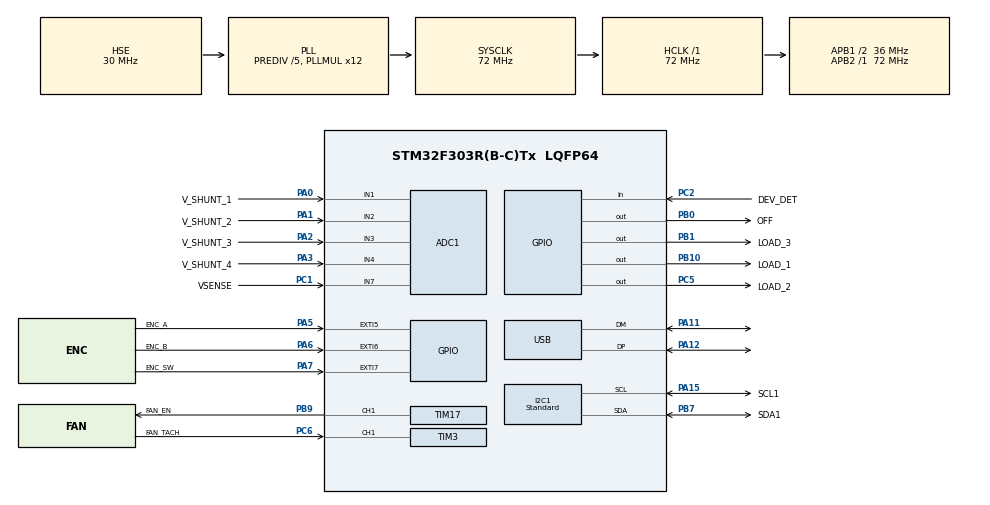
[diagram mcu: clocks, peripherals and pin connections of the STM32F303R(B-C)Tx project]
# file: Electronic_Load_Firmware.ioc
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ADC1.Channel-0\#ChannelRegularConversion=ADC_CHANNEL_1
ADC1.Channel-1\#ChannelRegularConversion=ADC_CHANNEL_2
ADC1.Channel-2\#ChannelRegularConversion=ADC_CHANNEL_3
ADC1.Channel-3\#ChannelRegularConversion=ADC_CHANNEL_4
ADC1.Channel-6\#ChannelRegularConversion=ADC_CHANNEL_7
ADC1.ContinuousConvMode=ENABLE
ADC1.DMAContinuousRequests=ENABLE
ADC1.EOCSelection=ADC_EOC_SEQ_CONV
ADC1.NbrOfConversion=5
ADC1.NbrOfConversionFlag=1
ADC1.Offset-0\#ChannelRegularConversion=0
ADC1.Offset-1\#ChannelRegularConversion=0
ADC1.Offset-2\#ChannelRegularConversion=0
ADC1.Offset-3\#ChannelRegularConversion=0
ADC1.Offset-6\#ChannelRegularConversion=0
ADC1.OffsetNumber-0\#ChannelRegularConversion=ADC_OFFSET_NONE
ADC1.OffsetNumber-1\#ChannelRegularConversion=ADC_OFFSET_NONE
ADC1.OffsetNumber-2\#ChannelRegularConversion=ADC_OFFSET_NONE
ADC1.OffsetNumber-3\#ChannelRegularConversion=ADC_OFFSET_NONE
ADC1.OffsetNumber-6\#ChannelRegularConversion=ADC_OFFSET_NONE
ADC1.Rank-0\#ChannelRegularConversion=1
ADC1.Rank-1\#ChannelRegularConversion=2
ADC1.Rank-2\#ChannelRegularConversion=3
ADC1.Rank-3\#ChannelRegularConversion=4
ADC1.Rank-6\#ChannelRegularConversion=5
ADC1.SamplingTime-0\#ChannelRegularConversion=ADC_SAMPLETIME_181CYCLES_5
ADC1.SamplingTime-1\#ChannelRegularConversion=ADC_SAMPLETIME_181CYCLES_5
ADC1.SamplingTime-2\#ChannelRegularConversion=ADC_SAMPLETIME_181CYCLES_5
ADC1.SamplingTime-3\#ChannelRegularConversion=ADC_SAMPLETIME_181CYCLES_5
ADC1.SamplingTime-6\#ChannelRegularConversion=ADC_SAMPLETIME_181CYCLES_5
ADC1.SamplingTimeOPAMP-6\#ChannelRegularConversion=ADC_SAMPLETIME_61CYCLES_5
ADC1.master=1
Dma.ADC1.0.Direction=DMA_PERIPH_TO_MEMORY
Dma.ADC1.0.Instance=DMA1_Channel1
Dma.ADC1.0.MemDataAlignment=DMA_MDATAALIGN_HALFWORD
Dma.ADC1.0.MemInc=DMA_MINC_ENABLE
Dma.ADC1.0.Mode=DMA_CIRCULAR
Dma.ADC1.0.PeriphDataAlignment=DMA_PDATAALIGN_HALFWORD
Dma.ADC1.0.PeriphInc=DMA_PINC_DISABLE
Dma.ADC1.0.Priority=DMA_PRIORITY_LOW
Dma.Request0=ADC1
I2C1.I2C_Speed_Mode=I2C_Standard
I2C1.Timing=0x00201D2B
Mcu.Family=STM32F3
Mcu.Name=STM32F303R(B-C)Tx
Mcu.Package=LQFP64
NVIC.DMA1_Channel1_IRQn=true\:3\:0\:true\:false\:true\:false\:true\:true
NVIC.EXTI9_5_IRQn=true\:2\:0\:true\:false\:true\:true\:true\:true
NVIC.PriorityGroup=NVIC_PRIORITYGROUP_4
NVIC.TIM3_IRQn=true\:0\:0\:false\:false\:true\:true\:true\:true
NVIC.USB_LP_CAN_RX0_IRQn=true\:0\:0\:false\:false\:true\:false\:true\:true
PA0.GPIO_Label=V_SHUNT_1
PA0.Mode=IN1-Single-Ended
PA0.Signal=ADC1_IN1
PA1.GPIO_Label=V_SHUNT_2
PA1.Mode=IN2-Single-Ended
PA1.Signal=ADC1_IN2
PA11.Mode=Device
PA11.Signal=USB_DM
PA12.Mode=Device
PA12.Signal=USB_DP
PA13.Mode=Trace_Asynchronous_SW
PA13.Signal=SYS_JTMS-SWDIO
PA14.Mode=Trace_Asynchronous_SW
PA14.Signal=SYS_JTCK-SWCLK
PA15.GPIO_Label=SCL1
PA15.GPIO_Pu=GPIO_NOPULL
PA15.Mode=I2C
PA15.Signal=I2C1_SCL
PA2.GPIO_Label=V_SHUNT_3
PA2.Mode=IN3-Single-Ended
PA2.Signal=ADC1_IN3
PA3.GPIO_Label=V_SHUNT_4
PA3.Mode=IN4-Single-Ended
PA3.Signal=ADC1_IN4
PA5.GPIO_Label=ENC_A
PA5.GPIO_ModeDefaultEXTI=GPIO_MODE_IT_RISING_FALLING
PA5.GPIO_PuPd=GPIO_PULLUP
PA5.Signal=GPXTI5
PA6.GPIO_Label=ENC_B
PA6.GPIO_ModeDefaultEXTI=GPIO_MODE_IT_RISING_FALLING
PA6.GPIO_PuPd=GPIO_PULLUP
PA6.Signal=GPXTI6
PA7.GPIO_Label=ENC_SW
PA7.GPIO_ModeDefaultEXTI=GPIO_MODE_IT_FALLING
PA7.GPIO_PuPd=GPIO_PULLUP
PA7.Signal=GPXTI7
PB0.GPIO_Label=OFF
PB0.PinState=GPIO_PIN_SET
PB0.Signal=GPIO_Output
PB1.GPIO_Label=LOAD_3
PB1.PinState=GPIO_PIN_SET
PB1.Signal=GPIO_Output
PB10.GPIO_Label=LOAD_1
PB10.PinState=GPIO_PIN_SET
PB10.Signal=GPIO_Output
PB3.GPIO_Label=SWD_SWO
PB3.Mode=Trace_Asynchronous_SW
PB3.Signal=SYS_JTDO-TRACESWO
PB7.GPIO_Label=SDA1
PB7.GPIO_Pu=GPIO_NOPULL
PB7.Mode=I2C
PB7.Signal=I2C1_SDA
PB9.GPIO_Label=FAN_EN
PB9.Signal=S_TIM17_CH1
PC1.GPIO_Label=VSENSE
PC1.Signal=ADCx_IN7
PC2.GPIO_Label=DEV_DET
PC2.Signal=GPIO_Input
PC5.GPIO_Label=LOAD_2
PC5.PinState=GPIO_PIN_SET
PC5.Signal=GPIO_Output
PC6.GPIO_Label=FAN_TACH
PC6.Signal=S_TIM3_CH1
PF0-OSC_IN.Mode=HSE-External-Oscillator
PF0-OSC_IN.Signal=RCC_OSC_IN
PF1-OSC_OUT.Mode=HSE-External-Oscillator
PF1-OSC_OUT.Signal=RCC_OSC_OUT
ProjectManager.HeapSize=0x200
ProjectManager.StackSize=0x400
ProjectManager.TargetToolchain=STM32CubeIDE
RCC.AHBFreq_Value=72000000
RCC.APB1CLKDivider=RCC_HCLK_DIV2
RCC.APB1Freq_Value=36000000
RCC.APB1TimFreq_Value=72000000
RCC.APB2Freq_Value=72000000
RCC.APB2TimFreq_Value=72000000
RCC.CortexFreq_Value=72000000
RCC.HCLKFreq_Value=72000000
RCC.HSE_VALUE=30000000
RCC.HSI_VALUE=8000000
RCC.LSE_VALUE=32768
RCC.PLLMUL=RCC_PLL_MUL12
RCC.PRESCALERUSB=RCC_USBCLKSOURCE_PLL_DIV1_5
RCC.RCC_PLLsource_Clock_Source_FROM_HSE=RCC_HSE_PREDIV_DIV5
RCC.SYSCLKFreq_VALUE=72000000
RCC.SYSCLKSourceVirtual=RCC_SYSCLKSOURCE_PLLCLK
RCC.USBFreq_Value=48000000
SH.ADCx_IN7.0=ADC1_IN7,IN7-Single-Ended
SH.S_TIM17_CH1.0=TIM17_CH1,PWM Generation1 CH1
SH.S_TIM3_CH1.0=TIM3_CH1,Input_Capture1_from_TI1
TIM17.Channel=TIM_CHANNEL_1
TIM17.Period=1919
TIM3.Channel-Input_Capture1_from_TI1=TIM_CHANNEL_1
TIM3.Prescaler=47
USB_DEVICE.CLASS_NAME_FS=CDC
USB_DEVICE.VirtualMode=Cdc
USB_DEVICE.VirtualModeFS=Cdc_FS
VP_TIM17_VS_ClockSourceINT.Mode=Enable_Timer
VP_TIM3_VS_ClockSourceINT.Mode=Internal
VP_USB_DEVICE_VS_USB_DEVICE_CDC_FS.Mode=CDC_FS
board=custom

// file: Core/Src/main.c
/* USER CODE BEGIN Header */
/**
  ******************************************************************************
  * @file           : main.c
  * @brief          : Main program body
  ******************************************************************************
  * @attention
  *
  * Copyright (c) 2026 STMicroelectronics.
  * All rights reserved.
  *
  * This software is licensed under terms that can be found in the LICENSE file
  * in the root directory of this software component.
  * If no LICENSE file comes with this software, it is provided AS-IS.
  *
  ******************************************************************************
  */
/* USER CODE END Header */
#include "main.h"
#include "usb_device.h"

/* USER CODE BEGIN Includes */
#include "usbd_cdc_if.h"
#include <stdio.h>
#include <string.h>
/* USER CODE END Includes */

/* USER CODE BEGIN PD */
#define REPORT_PERIOD_MS    1000U

/* ADC reference (MCU VDD) */
#define ADC_VREF_MV         3300U
#define ADC_RAW_TO_MV(r)    ((uint32_t)(r) * ADC_VREF_MV / 4096U)
/* USER CODE END PD */

ADC_HandleTypeDef hadc1;
DMA_HandleTypeDef hdma_adc1;

I2C_HandleTypeDef hi2c1;

TIM_HandleTypeDef htim3;
TIM_HandleTypeDef htim17;

/* USER CODE BEGIN PV */
extern USBD_HandleTypeDef hUsbDeviceFS;
extern volatile uint8_t cmd_ready[];
extern volatile uint8_t cmd_ready_flag;

static volatile uint16_t adc_dma_buf[5]; /* [0..3]=V_SHUNT_1..4, [4]=VSENSE */

static uint32_t last_report_tick_ms = 0U;
static uint8_t  banner_sent = 0U;
static char     report_buf[128];
/* Per-channel load state: 1=ON (GPIO LOW, PNP active), 0=OFF (GPIO HIGH, PNP off)
 * Index 0=CH1(PB0), 1=CH2(PB10), 2=CH3(PC5), 3=CH4(PB1) */
static uint8_t  chan_enabled[4] = {1U, 1U, 1U, 1U};  /* all ON at startup */

static GPIO_TypeDef * const chan_port[4] = {OFF_GPIO_Port, LOAD_1_GPIO_Port, LOAD_2_GPIO_Port, LOAD_3_GPIO_Port};
static const uint16_t       chan_pin[4]  = {OFF_Pin,       LOAD_1_Pin,       LOAD_2_Pin,       LOAD_3_Pin};
/* USER CODE END PV */

void SystemClock_Config(void);
static void MX_GPIO_Init(void);
static void MX_DMA_Init(void);
static void MX_ADC1_Init(void);
static void MX_I2C1_Init(void);
static void MX_TIM3_Init(void);
static void MX_TIM17_Init(void);
/* USER CODE BEGIN PFP */
static uint8_t  usb_is_configured(void);
static HAL_StatusTypeDef clock_try_hse30_pll72_usb48(void);
static HAL_StatusTypeDef clock_try_hsi_pll48_usb48(void);
/* USER CODE END PFP */

/* USER CODE BEGIN 0 */
static uint8_t usb_is_configured(void)
{
  return (hUsbDeviceFS.dev_state == USBD_STATE_CONFIGURED) ? 1U : 0U;
}

static HAL_StatusTypeDef clock_try_hse30_pll72_usb48(void)
{
  RCC_OscInitTypeDef RCC_OscInitStruct = {0};
  RCC_ClkInitTypeDef RCC_ClkInitStruct = {0};
  RCC_PeriphCLKInitTypeDef PeriphClkInit = {0};

  RCC_OscInitStruct.OscillatorType = RCC_OSCILLATORTYPE_HSI|RCC_OSCILLATORTYPE_HSE;
  RCC_OscInitStruct.HSEState = RCC_HSE_ON;
  RCC_OscInitStruct.HSEPredivValue = RCC_HSE_PREDIV_DIV5;
  RCC_OscInitStruct.HSIState = RCC_HSI_ON;
  RCC_OscInitStruct.HSICalibrationValue = RCC_HSICALIBRATION_DEFAULT;
  RCC_OscInitStruct.PLL.PLLState = RCC_PLL_ON;
  RCC_OscInitStruct.PLL.PLLSource = RCC_PLLSOURCE_HSE;
  RCC_OscInitStruct.PLL.PLLMUL = RCC_PLL_MUL12;
  if (HAL_RCC_OscConfig(&RCC_OscInitStruct) != HAL_OK)
  {
    return HAL_ERROR;
  }

  RCC_ClkInitStruct.ClockType = RCC_CLOCKTYPE_HCLK|RCC_CLOCKTYPE_SYSCLK
                              |RCC_CLOCKTYPE_PCLK1|RCC_CLOCKTYPE_PCLK2;
  RCC_ClkInitStruct.SYSCLKSource = RCC_SYSCLKSOURCE_PLLCLK;
  RCC_ClkInitStruct.AHBCLKDivider = RCC_SYSCLK_DIV1;
  RCC_ClkInitStruct.APB1CLKDivider = RCC_HCLK_DIV2;
  RCC_ClkInitStruct.APB2CLKDivider = RCC_HCLK_DIV1;
  if (HAL_RCC_ClockConfig(&RCC_ClkInitStruct, FLASH_LATENCY_2) != HAL_OK)
  {
    return HAL_ERROR;
  }

  PeriphClkInit.PeriphClockSelection = RCC_PERIPHCLK_USB|RCC_PERIPHCLK_I2C1
                              |RCC_PERIPHCLK_ADC12;
  PeriphClkInit.Adc12ClockSelection = RCC_ADC12PLLCLK_DIV1;
  PeriphClkInit.I2c1ClockSelection = RCC_I2C1CLKSOURCE_HSI;
  PeriphClkInit.USBClockSelection = RCC_USBCLKSOURCE_PLL_DIV1_5;
  if (HAL_RCCEx_PeriphCLKConfig(&PeriphClkInit) != HAL_OK)
  {
    return HAL_ERROR;
  }

  return HAL_OK;
}

static HAL_StatusTypeDef clock_try_hsi_pll48_usb48(void)
{
  RCC_OscInitTypeDef RCC_OscInitStruct = {0};
  RCC_ClkInitTypeDef RCC_ClkInitStruct = {0};
  RCC_PeriphCLKInitTypeDef PeriphClkInit = {0};

  RCC_OscInitStruct.OscillatorType = RCC_OSCILLATORTYPE_HSI;
  RCC_OscInitStruct.HSIState = RCC_HSI_ON;
  RCC_OscInitStruct.HSICalibrationValue = RCC_HSICALIBRATION_DEFAULT;
  RCC_OscInitStruct.PLL.PLLState = RCC_PLL_ON;
  RCC_OscInitStruct.PLL.PLLSource = RCC_PLLSOURCE_HSI;
  RCC_OscInitStruct.PLL.PLLMUL = RCC_PLL_MUL12;
  if (HAL_RCC_OscConfig(&RCC_OscInitStruct) != HAL_OK)
  {
    return HAL_ERROR;
  }

  RCC_ClkInitStruct.ClockType = RCC_CLOCKTYPE_HCLK|RCC_CLOCKTYPE_SYSCLK
                              |RCC_CLOCKTYPE_PCLK1|RCC_CLOCKTYPE_PCLK2;
  RCC_ClkInitStruct.SYSCLKSource = RCC_SYSCLKSOURCE_PLLCLK;
  RCC_ClkInitStruct.AHBCLKDivider = RCC_SYSCLK_DIV1;
  RCC_ClkInitStruct.APB1CLKDivider = RCC_HCLK_DIV2;
  RCC_ClkInitStruct.APB2CLKDivider = RCC_HCLK_DIV1;
  if (HAL_RCC_ClockConfig(&RCC_ClkInitStruct, FLASH_LATENCY_1) != HAL_OK)
  {
    return HAL_ERROR;
  }

  PeriphClkInit.PeriphClockSelection = RCC_PERIPHCLK_USB|RCC_PERIPHCLK_I2C1
                              |RCC_PERIPHCLK_ADC12;
  PeriphClkInit.Adc12ClockSelection = RCC_ADC12PLLCLK_DIV1;
  PeriphClkInit.I2c1ClockSelection = RCC_I2C1CLKSOURCE_HSI;
  PeriphClkInit.USBClockSelection = RCC_USBCLKSOURCE_PLL;
  if (HAL_RCCEx_PeriphCLKConfig(&PeriphClkInit) != HAL_OK)
  {
    return HAL_ERROR;
  }

  return HAL_OK;
}

/* ---- Load channel helpers ---- */
static void chan_apply(uint8_t ch)
{
  if (ch >= 4U) return;
  /* GPIO LOW = PNP ON = load active; GPIO HIGH = PNP OFF = no load */
  HAL_GPIO_WritePin(chan_port[ch], chan_pin[ch],
                    chan_enabled[ch] ? GPIO_PIN_RESET : GPIO_PIN_SET);
}

static void chan_apply_all(void)
{
  for (uint8_t i = 0; i < 4; i++) chan_apply(i);
}

/* USER CODE END 0 */

int main(void)
{

  /* MCU Configuration--------------------------------------------------------*/

  /* Reset of all peripherals, Initializes the Flash interface and the Systick. */
  HAL_Init();

  /* USER CODE BEGIN Init */
  /* Prefer HSE 30 MHz -> PLL 72 MHz -> USB 48 MHz; fall back to HSI if no crystal. */
  if (clock_try_hse30_pll72_usb48() != HAL_OK)
  {
    (void)clock_try_hsi_pll48_usb48();
  }
  /* USER CODE END Init */

  /* Configure the system clock */
  SystemClock_Config();

  /* Initialize all configured peripherals */
  MX_GPIO_Init();
  MX_DMA_Init();
  MX_ADC1_Init();
  MX_I2C1_Init();
  MX_TIM3_Init();
  MX_TIM17_Init();
  MX_USB_DEVICE_Init();
  /* USER CODE BEGIN 2 */
  HAL_ADCEx_Calibration_Start(&hadc1, ADC_SINGLE_ENDED);
  HAL_ADC_Start_DMA(&hadc1, (uint32_t *)adc_dma_buf, 5);

  chan_apply_all();  /* turn on all 4 load channels at startup */

  /* Start fan PWM at 100% duty cycle (max speed, always on) */
  __HAL_TIM_SET_COMPARE(&htim17, TIM_CHANNEL_1, 1919U);
  HAL_TIM_PWM_Start(&htim17, TIM_CHANNEL_1);
  /* Infinite loop */
  while (1)
  {

    /* USER CODE BEGIN 3 */

    /* ---- Process incoming USB command ---- */
    if (cmd_ready_flag)
    {
      const char *cmd = (const char *)cmd_ready;

      if (cmd[0] == 'E' || cmd[0] == 'e')
      {
        /* "E <0/1>"  — enable (1) or disable (0) ALL load channels */
        const char *p = cmd + 1;
        while (*p == ' ') p++;
        uint8_t en = (*p == '1') ? 1U : 0U;
        for (uint8_t i = 0; i < 4; i++) chan_enabled[i] = en;
        chan_apply_all();

        int n = snprintf(report_buf, sizeof(report_buf),
            "OK EN=%u CH1=%u CH2=%u CH3=%u CH4=%u\r\n",
            (unsigned)en,
            (unsigned)chan_enabled[0], (unsigned)chan_enabled[1],
            (unsigned)chan_enabled[2], (unsigned)chan_enabled[3]);
        if (n > 0 && usb_is_configured() && CDC_IsReady_FS())
          (void)CDC_Transmit_FS((uint8_t *)report_buf, (uint16_t)n);
      }
      else if (cmd[0] == 'S' || cmd[0] == 's')
      {
        /* "S"  — status query: immediate telemetry snapshot */
        uint32_t s1_mv = ADC_RAW_TO_MV(adc_dma_buf[0]);
        uint32_t s2_mv = ADC_RAW_TO_MV(adc_dma_buf[1]);
        uint32_t s3_mv = ADC_RAW_TO_MV(adc_dma_buf[2]);
        uint32_t s4_mv = ADC_RAW_TO_MV(adc_dma_buf[3]);

        int n = snprintf(report_buf, sizeof(report_buf),
            "S1=%lu S2=%lu S3=%lu S4=%lu CH1=%u CH2=%u CH3=%u CH4=%u\r\n",
            (unsigned long)s1_mv, (unsigned long)s2_mv,
            (unsigned long)s3_mv, (unsigned long)s4_mv,
            (unsigned)chan_enabled[0], (unsigned)chan_enabled[1],
            (unsigned)chan_enabled[2], (unsigned)chan_enabled[3]);
        if (n > 0 && usb_is_configured() && CDC_IsReady_FS())
          (void)CDC_Transmit_FS((uint8_t *)report_buf, (uint16_t)n);
      }
      else if (cmd[0] == 'L' || cmd[0] == 'l')
      {
        /* "L <1-4> <0/1>"  — toggle individual load channel */
        const char *p = cmd + 1;
        while (*p == ' ') p++;
        uint8_t ch_num = (*p >= '1' && *p <= '4') ? (*p - '1') : 0xFFU;
        p++;
        while (*p == ' ') p++;
        uint8_t state = (*p == '1') ? 1U : 0U;

        if (ch_num < 4U) {
          chan_enabled[ch_num] = state;
          chan_apply(ch_num);

          int n = snprintf(report_buf, sizeof(report_buf),
              "OK CH%u=%u CH1=%u CH2=%u CH3=%u CH4=%u\r\n",
              (unsigned)(ch_num + 1), (unsigned)state,
              (unsigned)chan_enabled[0], (unsigned)chan_enabled[1],
              (unsigned)chan_enabled[2], (unsigned)chan_enabled[3]);
          if (n > 0 && usb_is_configured() && CDC_IsReady_FS())
            (void)CDC_Transmit_FS((uint8_t *)report_buf, (uint16_t)n);
        }
      }

      cmd_ready_flag = 0;
    }

    if (usb_is_configured() && CDC_IsReady_FS())
    {
      uint32_t now = HAL_GetTick();

      if (!banner_sent)
      {
        int n = snprintf(report_buf, sizeof(report_buf),
            "\r\nElectronic Load Telemetry\r\n"
            "CH1=%u CH2=%u CH3=%u CH4=%u\r\n\r\n",
            (unsigned)chan_enabled[0], (unsigned)chan_enabled[1],
            (unsigned)chan_enabled[2], (unsigned)chan_enabled[3]);
        (void)CDC_Transmit_FS((uint8_t *)report_buf, (uint16_t)n);
        banner_sent = 1U;
        last_report_tick_ms = now;
      }
      else if ((now - last_report_tick_ms) >= REPORT_PERIOD_MS)
      {
        last_report_tick_ms = now;

        /* ADC snapshot — shunt readings (1 mΩ, no sense amp) */
        uint32_t s1_mv = ADC_RAW_TO_MV(adc_dma_buf[0]);
        uint32_t s2_mv = ADC_RAW_TO_MV(adc_dma_buf[1]);
        uint32_t s3_mv = ADC_RAW_TO_MV(adc_dma_buf[2]);
        uint32_t s4_mv = ADC_RAW_TO_MV(adc_dma_buf[3]);

        int n = snprintf(report_buf, sizeof(report_buf),
            "S1=%lu S2=%lu S3=%lu S4=%lu CH1=%u CH2=%u CH3=%u CH4=%u\r\n",
            (unsigned long)s1_mv, (unsigned long)s2_mv,
            (unsigned long)s3_mv, (unsigned long)s4_mv,
            (unsigned)chan_enabled[0], (unsigned)chan_enabled[1],
            (unsigned)chan_enabled[2], (unsigned)chan_enabled[3]);
        if (n > 0)
          (void)CDC_Transmit_FS((uint8_t *)report_buf, (uint16_t)n);
      }
    }
  }
  /* USER CODE END 3 */
}

void SystemClock_Config(void)
{
  RCC_OscInitTypeDef RCC_OscInitStruct = {0};
  RCC_ClkInitTypeDef RCC_ClkInitStruct = {0};
  RCC_PeriphCLKInitTypeDef PeriphClkInit = {0};

  /** Initializes the RCC Oscillators according to the specified parameters
  * in the RCC_OscInitTypeDef structure.
  */
  RCC_OscInitStruct.OscillatorType = RCC_OSCILLATORTYPE_HSI|RCC_OSCILLATORTYPE_HSE;
  RCC_OscInitStruct.HSEState = RCC_HSE_ON;
  RCC_OscInitStruct.HSEPredivValue = RCC_HSE_PREDIV_DIV5;
  RCC_OscInitStruct.HSIState = RCC_HSI_ON;
  RCC_OscInitStruct.HSICalibrationValue = RCC_HSICALIBRATION_DEFAULT;
  RCC_OscInitStruct.PLL.PLLState = RCC_PLL_ON;
  RCC_OscInitStruct.PLL.PLLSource = RCC_PLLSOURCE_HSE;
  RCC_OscInitStruct.PLL.PLLMUL = RCC_PLL_MUL12;
  if (HAL_RCC_OscConfig(&RCC_OscInitStruct) != HAL_OK)
  {
    Error_Handler();
  }

  /** Initializes the CPU, AHB and APB buses clocks
  */
  RCC_ClkInitStruct.ClockType = RCC_CLOCKTYPE_HCLK|RCC_CLOCKTYPE_SYSCLK
                              |RCC_CLOCKTYPE_PCLK1|RCC_CLOCKTYPE_PCLK2;
  RCC_ClkInitStruct.SYSCLKSource = RCC_SYSCLKSOURCE_PLLCLK;
  RCC_ClkInitStruct.AHBCLKDivider = RCC_SYSCLK_DIV1;
  RCC_ClkInitStruct.APB1CLKDivider = RCC_HCLK_DIV2;
  RCC_ClkInitStruct.APB2CLKDivider = RCC_HCLK_DIV1;

  if (HAL_RCC_ClockConfig(&RCC_ClkInitStruct, FLASH_LATENCY_2) != HAL_OK)
  {
    Error_Handler();
  }
  PeriphClkInit.PeriphClockSelection = RCC_PERIPHCLK_USB|RCC_PERIPHCLK_I2C1
                              |RCC_PERIPHCLK_ADC12;
  PeriphClkInit.Adc12ClockSelection = RCC_ADC12PLLCLK_DIV1;
  PeriphClkInit.I2c1ClockSelection = RCC_I2C1CLKSOURCE_HSI;
  PeriphClkInit.USBClockSelection = RCC_USBCLKSOURCE_PLL_DIV1_5;
  if (HAL_RCCEx_PeriphCLKConfig(&PeriphClkInit) != HAL_OK)
  {
    Error_Handler();
  }
}

static void MX_ADC1_Init(void)
{

  ADC_MultiModeTypeDef multimode = {0};
  ADC_ChannelConfTypeDef sConfig = {0};

  /** Common config
  */
  hadc1.Instance = ADC1;
  hadc1.Init.ClockPrescaler = ADC_CLOCK_ASYNC_DIV1;
  hadc1.Init.Resolution = ADC_RESOLUTION_12B;
  hadc1.Init.ScanConvMode = ADC_SCAN_ENABLE;
  hadc1.Init.ContinuousConvMode = ENABLE;
  hadc1.Init.DiscontinuousConvMode = DISABLE;
  hadc1.Init.ExternalTrigConvEdge = ADC_EXTERNALTRIGCONVEDGE_NONE;
  hadc1.Init.ExternalTrigConv = ADC_SOFTWARE_START;
  hadc1.Init.DataAlign = ADC_DATAALIGN_RIGHT;
  hadc1.Init.NbrOfConversion = 5;
  hadc1.Init.DMAContinuousRequests = ENABLE;
  hadc1.Init.EOCSelection = ADC_EOC_SEQ_CONV;
  hadc1.Init.LowPowerAutoWait = DISABLE;
  hadc1.Init.Overrun = ADC_OVR_DATA_OVERWRITTEN;
  if (HAL_ADC_Init(&hadc1) != HAL_OK)
  {
    Error_Handler();
  }

  /** Configure the ADC multi-mode
  */
  multimode.Mode = ADC_MODE_INDEPENDENT;
  if (HAL_ADCEx_MultiModeConfigChannel(&hadc1, &multimode) != HAL_OK)
  {
    Error_Handler();
  }

  /** Configure Regular Channel
  */
  sConfig.Channel = ADC_CHANNEL_1;
  sConfig.Rank = ADC_REGULAR_RANK_1;
  sConfig.SingleDiff = ADC_SINGLE_ENDED;
  sConfig.SamplingTime = ADC_SAMPLETIME_181CYCLES_5;
  sConfig.OffsetNumber = ADC_OFFSET_NONE;
  sConfig.Offset = 0;
  if (HAL_ADC_ConfigChannel(&hadc1, &sConfig) != HAL_OK)
  {
    Error_Handler();
  }

  /** Configure Regular Channel
  */
  sConfig.Channel = ADC_CHANNEL_2;
  sConfig.Rank = ADC_REGULAR_RANK_2;
  if (HAL_ADC_ConfigChannel(&hadc1, &sConfig) != HAL_OK)
  {
    Error_Handler();
  }

  /** Configure Regular Channel
  */
  sConfig.Channel = ADC_CHANNEL_3;
  sConfig.Rank = ADC_REGULAR_RANK_3;
  if (HAL_ADC_ConfigChannel(&hadc1, &sConfig) != HAL_OK)
  {
    Error_Handler();
  }

  /** Configure Regular Channel
  */
  sConfig.Channel = ADC_CHANNEL_4;
  sConfig.Rank = ADC_REGULAR_RANK_4;
  if (HAL_ADC_ConfigChannel(&hadc1, &sConfig) != HAL_OK)
  {
    Error_Handler();
  }

  /** Configure Regular Channel
  */
  sConfig.Channel = ADC_CHANNEL_7;
  sConfig.Rank = ADC_REGULAR_RANK_5;
  if (HAL_ADC_ConfigChannel(&hadc1, &sConfig) != HAL_OK)
  {
    Error_Handler();
  }

}

static void MX_I2C1_Init(void)
{

  hi2c1.Instance = I2C1;
  hi2c1.Init.Timing = 0x00201D2B;
  hi2c1.Init.OwnAddress1 = 0;
  hi2c1.Init.AddressingMode = I2C_ADDRESSINGMODE_7BIT;
  hi2c1.Init.DualAddressMode = I2C_DUALADDRESS_DISABLE;
  hi2c1.Init.OwnAddress2 = 0;
  hi2c1.Init.OwnAddress2Masks = I2C_OA2_NOMASK;
  hi2c1.Init.GeneralCallMode = I2C_GENERALCALL_DISABLE;
  hi2c1.Init.NoStretchMode = I2C_NOSTRETCH_DISABLE;
  if (HAL_I2C_Init(&hi2c1) != HAL_OK)
  {
    Error_Handler();
  }

  /** Configure Analogue filter
  */
  if (HAL_I2CEx_ConfigAnalogFilter(&hi2c1, I2C_ANALOGFILTER_ENABLE) != HAL_OK)
  {
    Error_Handler();
  }

  /** Configure Digital filter
  */
  if (HAL_I2CEx_ConfigDigitalFilter(&hi2c1, 0) != HAL_OK)
  {
    Error_Handler();
  }

}

static void MX_TIM3_Init(void)
{

  TIM_ClockConfigTypeDef sClockSourceConfig = {0};
  TIM_MasterConfigTypeDef sMasterConfig = {0};
  TIM_IC_InitTypeDef sConfigIC = {0};

  htim3.Instance = TIM3;
  htim3.Init.Prescaler = 47;
  htim3.Init.CounterMode = TIM_COUNTERMODE_UP;
  htim3.Init.Period = 65535;
  htim3.Init.ClockDivision = TIM_CLOCKDIVISION_DIV1;
  htim3.Init.AutoReloadPreload = TIM_AUTORELOAD_PRELOAD_DISABLE;
  if (HAL_TIM_Base_Init(&htim3) != HAL_OK)
  {
    Error_Handler();
  }
  sClockSourceConfig.ClockSource = TIM_CLOCKSOURCE_INTERNAL;
  if (HAL_TIM_ConfigClockSource(&htim3, &sClockSourceConfig) != HAL_OK)
  {
    Error_Handler();
  }
  if (HAL_TIM_IC_Init(&htim3) != HAL_OK)
  {
    Error_Handler();
  }
  sMasterConfig.MasterOutputTrigger = TIM_TRGO_RESET;
  sMasterConfig.MasterSlaveMode = TIM_MASTERSLAVEMODE_DISABLE;
  if (HAL_TIMEx_MasterConfigSynchronization(&htim3, &sMasterConfig) != HAL_OK)
  {
    Error_Handler();
  }
  sConfigIC.ICPolarity = TIM_INPUTCHANNELPOLARITY_RISING;
  sConfigIC.ICSelection = TIM_ICSELECTION_DIRECTTI;
  sConfigIC.ICPrescaler = TIM_ICPSC_DIV1;
  sConfigIC.ICFilter = 0;
  if (HAL_TIM_IC_ConfigChannel(&htim3, &sConfigIC, TIM_CHANNEL_1) != HAL_OK)
  {
    Error_Handler();
  }

}

static void MX_TIM17_Init(void)
{

  TIM_OC_InitTypeDef sConfigOC = {0};
  TIM_BreakDeadTimeConfigTypeDef sBreakDeadTimeConfig = {0};

  htim17.Instance = TIM17;
  htim17.Init.Prescaler = 0;
  htim17.Init.CounterMode = TIM_COUNTERMODE_UP;
  htim17.Init.Period = 1919;
  htim17.Init.ClockDivision = TIM_CLOCKDIVISION_DIV1;
  htim17.Init.RepetitionCounter = 0;
  htim17.Init.AutoReloadPreload = TIM_AUTORELOAD_PRELOAD_DISABLE;
  if (HAL_TIM_Base_Init(&htim17) != HAL_OK)
  {
    Error_Handler();
  }
  if (HAL_TIM_PWM_Init(&htim17) != HAL_OK)
  {
    Error_Handler();
  }
  sConfigOC.OCMode = TIM_OCMODE_PWM1;
  sConfigOC.Pulse = 0;
  sConfigOC.OCPolarity = TIM_OCPOLARITY_HIGH;
  sConfigOC.OCNPolarity = TIM_OCNPOLARITY_HIGH;
  sConfigOC.OCFastMode = TIM_OCFAST_DISABLE;
  sConfigOC.OCIdleState = TIM_OCIDLESTATE_RESET;
  sConfigOC.OCNIdleState = TIM_OCNIDLESTATE_RESET;
  if (HAL_TIM_PWM_ConfigChannel(&htim17, &sConfigOC, TIM_CHANNEL_1) != HAL_OK)
  {
    Error_Handler();
  }
  sBreakDeadTimeConfig.OffStateRunMode = TIM_OSSR_DISABLE;
  sBreakDeadTimeConfig.OffStateIDLEMode = TIM_OSSI_DISABLE;
  sBreakDeadTimeConfig.LockLevel = TIM_LOCKLEVEL_OFF;
  sBreakDeadTimeConfig.DeadTime = 0;
  sBreakDeadTimeConfig.BreakState = TIM_BREAK_DISABLE;
  sBreakDeadTimeConfig.BreakPolarity = TIM_BREAKPOLARITY_HIGH;
  sBreakDeadTimeConfig.BreakFilter = 0;
  sBreakDeadTimeConfig.AutomaticOutput = TIM_AUTOMATICOUTPUT_DISABLE;
  if (HAL_TIMEx_ConfigBreakDeadTime(&htim17, &sBreakDeadTimeConfig) != HAL_OK)
  {
    Error_Handler();
  }
  HAL_TIM_MspPostInit(&htim17);

}

static void MX_DMA_Init(void)
{

  /* DMA controller clock enable */
  __HAL_RCC_DMA1_CLK_ENABLE();

  /* DMA interrupt init */
  /* DMA1_Channel1_IRQn interrupt configuration */
  HAL_NVIC_SetPriority(DMA1_Channel1_IRQn, 3, 0);
  HAL_NVIC_EnableIRQ(DMA1_Channel1_IRQn);

}

static void MX_GPIO_Init(void)
{
  GPIO_InitTypeDef GPIO_InitStruct = {0};

  /* GPIO Ports Clock Enable */
  __HAL_RCC_GPIOF_CLK_ENABLE();
  __HAL_RCC_GPIOC_CLK_ENABLE();
  __HAL_RCC_GPIOA_CLK_ENABLE();
  __HAL_RCC_GPIOB_CLK_ENABLE();

  /*Configure GPIO pin Output Level */
  HAL_GPIO_WritePin(GPIOB, OFF_Pin|LOAD_3_Pin|LOAD_1_Pin, GPIO_PIN_SET);

  /*Configure GPIO pin Output Level */
  HAL_GPIO_WritePin(LOAD_2_GPIO_Port, LOAD_2_Pin, GPIO_PIN_SET);

  /*Configure GPIO pin : DEV_DET_Pin */
  GPIO_InitStruct.Pin = DEV_DET_Pin;
  GPIO_InitStruct.Mode = GPIO_MODE_INPUT;
  GPIO_InitStruct.Pull = GPIO_NOPULL;
  HAL_GPIO_Init(DEV_DET_GPIO_Port, &GPIO_InitStruct);

  /*Configure GPIO pins : ENC_A_Pin ENC_B_Pin */
  GPIO_InitStruct.Pin = ENC_A_Pin|ENC_B_Pin;
  GPIO_InitStruct.Mode = GPIO_MODE_IT_RISING_FALLING;
  GPIO_InitStruct.Pull = GPIO_PULLUP;
  HAL_GPIO_Init(GPIOA, &GPIO_InitStruct);

  /*Configure GPIO pin : ENC_SW_Pin */
  GPIO_InitStruct.Pin = ENC_SW_Pin;
  GPIO_InitStruct.Mode = GPIO_MODE_IT_FALLING;
  GPIO_InitStruct.Pull = GPIO_PULLUP;
  HAL_GPIO_Init(ENC_SW_GPIO_Port, &GPIO_InitStruct);

  /*Configure GPIO pins : OFF_Pin LOAD_3_Pin LOAD_1_Pin */
  GPIO_InitStruct.Pin = OFF_Pin|LOAD_3_Pin|LOAD_1_Pin;
  GPIO_InitStruct.Mode = GPIO_MODE_OUTPUT_PP;
  GPIO_InitStruct.Pull = GPIO_NOPULL;
  GPIO_InitStruct.Speed = GPIO_SPEED_FREQ_LOW;
  HAL_GPIO_Init(GPIOB, &GPIO_InitStruct);

  /*Configure GPIO pin : LOAD_2_Pin */
  GPIO_InitStruct.Pin = LOAD_2_Pin;
  GPIO_InitStruct.Mode = GPIO_MODE_OUTPUT_PP;
  GPIO_InitStruct.Pull = GPIO_NOPULL;
  GPIO_InitStruct.Speed = GPIO_SPEED_FREQ_LOW;
  HAL_GPIO_Init(LOAD_2_GPIO_Port, &GPIO_InitStruct);

  /* EXTI interrupt init*/
  HAL_NVIC_SetPriority(EXTI9_5_IRQn, 2, 0);
  HAL_NVIC_EnableIRQ(EXTI9_5_IRQn);

}

void Error_Handler(void)
{
  /* USER CODE BEGIN Error_Handler_Debug */
  /* Do NOT disable interrupts — USB enumeration requires them.
     Just spin so the debugger can catch us here. */
  while (1)
  {
  }
  /* USER CODE END Error_Handler_Debug */
}
